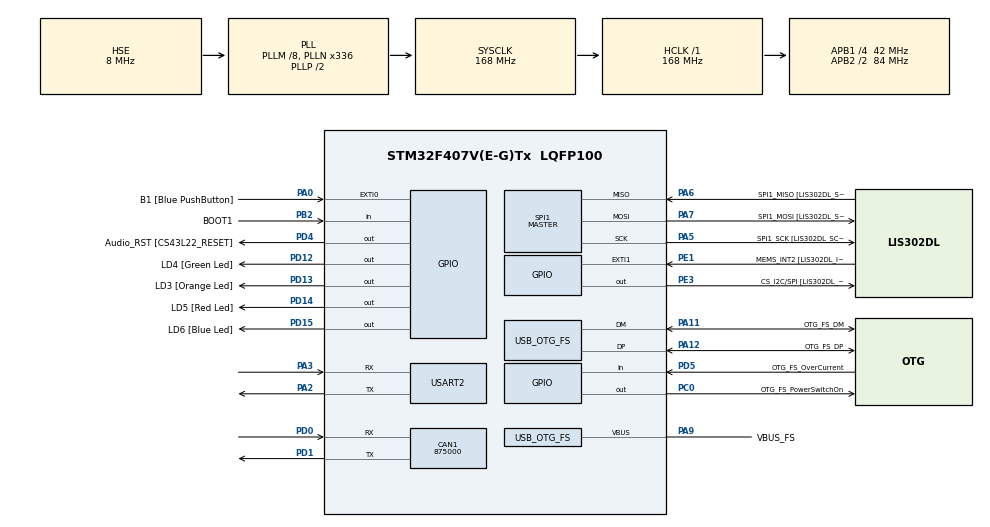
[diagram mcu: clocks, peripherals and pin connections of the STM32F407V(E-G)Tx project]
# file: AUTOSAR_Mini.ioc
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CAN1.CalculateBaudRate=875000
CAN1.CalculateTimeBit=1142
CAN1.CalculateTimeQuantum=380.95238095238096
Dma.Request0=USART2_TX
Dma.Request1=USART2_RX
Dma.USART2_RX.1.Direction=DMA_PERIPH_TO_MEMORY
Dma.USART2_RX.1.FIFOMode=DMA_FIFOMODE_DISABLE
Dma.USART2_RX.1.Instance=DMA1_Stream5
Dma.USART2_RX.1.MemDataAlignment=DMA_MDATAALIGN_BYTE
Dma.USART2_RX.1.MemInc=DMA_MINC_ENABLE
Dma.USART2_RX.1.Mode=DMA_CIRCULAR
Dma.USART2_RX.1.PeriphDataAlignment=DMA_PDATAALIGN_BYTE
Dma.USART2_RX.1.PeriphInc=DMA_PINC_DISABLE
Dma.USART2_RX.1.Priority=DMA_PRIORITY_LOW
Dma.USART2_TX.0.Direction=DMA_MEMORY_TO_PERIPH
Dma.USART2_TX.0.FIFOMode=DMA_FIFOMODE_DISABLE
Dma.USART2_TX.0.Instance=DMA1_Stream6
Dma.USART2_TX.0.MemDataAlignment=DMA_MDATAALIGN_BYTE
Dma.USART2_TX.0.MemInc=DMA_MINC_ENABLE
Dma.USART2_TX.0.Mode=DMA_NORMAL
Dma.USART2_TX.0.PeriphDataAlignment=DMA_PDATAALIGN_BYTE
Dma.USART2_TX.0.PeriphInc=DMA_PINC_DISABLE
Dma.USART2_TX.0.Priority=DMA_PRIORITY_LOW
FREERTOS.Queues01=DcMuartRxQueue,128,uint8_t,0,Static,DcMuartRxQueueBuffer,DcMuartRxQueueControlBlock
FREERTOS.Tasks01=defaultTask,24,1024,StartDefaultTask,Default,NULL,Static,defaultTaskBuffer,defaultTaskControlBlock;task1ms,40,2048,task1msHandleFunction,Default,NULL,Static,task1msStack,task1msControlBlock;task10ms,24,2048,task10msHandleFunction,Default,NULL,Static,task10msStack,task10msStackControlBlock;task100ms,32,2048,task100msHandleFunction,Default,NULL,Static,task100msStack,task100msControlBlock;DiagnosticTask,28,256,DiagnosticTask_Function,Default,NULL,Static,diagnosticTaskHBuffer,diagnosticTaskHControlBlock
FREERTOS.configCHECK_FOR_STACK_OVERFLOW=2
FREERTOS.configTOTAL_HEAP_SIZE=4096
Mcu.Family=STM32F4
Mcu.Name=STM32F407V(E-G)Tx
Mcu.Package=LQFP100
NVIC.CAN1_RX0_IRQn=true\:5\:0\:false\:false\:true\:true\:true\:true\:true
NVIC.CAN1_TX_IRQn=true\:5\:0\:false\:false\:true\:true\:true\:true\:true
NVIC.DMA1_Stream5_IRQn=true\:5\:0\:false\:false\:true\:true\:false\:true\:true
NVIC.DMA1_Stream6_IRQn=true\:5\:0\:false\:false\:true\:true\:false\:true\:true
NVIC.OTG_FS_IRQn=true\:5\:0\:false\:false\:true\:true\:true\:true\:true
NVIC.PriorityGroup=NVIC_PRIORITYGROUP_4
NVIC.TIM2_IRQn=true\:15\:0\:false\:false\:true\:false\:false\:true\:true
NVIC.TimeBase=TIM2_IRQn
NVIC.TimeBaseIP=TIM2
NVIC.USART2_IRQn=true\:5\:0\:false\:false\:true\:true\:true\:true\:true
PA0-WKUP.GPIO_Label=B1 [Blue PushButton]
PA0-WKUP.GPIO_ModeDefaultEXTI=GPIO_MODE_EVT_RISING
PA0-WKUP.GPIO_PuPd=GPIO_NOPULL
PA0-WKUP.Signal=GPXTI0
PA10.GPIO_Label=OTG_FS_ID
PA10.GPIO_Mode=GPIO_MODE_AF_PP
PA10.GPIO_PuPd=GPIO_NOPULL
PA10.GPIO_Speed=GPIO_SPEED_FREQ_LOW
PA10.Signal=USB_OTG_FS_ID
PA11.GPIO_Label=OTG_FS_DM
PA11.GPIO_Mode=GPIO_MODE_AF_PP
PA11.GPIO_PuPd=GPIO_NOPULL
PA11.GPIO_Speed=GPIO_SPEED_FREQ_LOW
PA11.Mode=Host_Only
PA11.Signal=USB_OTG_FS_DM
PA12.GPIO_Label=OTG_FS_DP
PA12.GPIO_Mode=GPIO_MODE_AF_PP
PA12.GPIO_PuPd=GPIO_NOPULL
PA12.GPIO_Speed=GPIO_SPEED_FREQ_LOW
PA12.Mode=Host_Only
PA12.Signal=USB_OTG_FS_DP
PA13.GPIO_Label=SWDIO
PA13.Mode=Serial_Wire
PA13.Signal=SYS_JTMS-SWDIO
PA14.GPIO_Label=SWCLK
PA14.Mode=Serial_Wire
PA14.Signal=SYS_JTCK-SWCLK
PA2.Mode=Asynchronous
PA2.Signal=USART2_TX
PA3.Mode=Asynchronous
PA3.Signal=USART2_RX
PA4.GPIO_Label=I2S3_WS [CS43L22_LRCK]
PA4.GPIO_Mode=GPIO_MODE_AF_PP
PA4.GPIO_PuPd=GPIO_NOPULL
PA4.GPIO_Speed=GPIO_SPEED_FREQ_LOW
PA4.Signal=I2S3_WS
PA5.GPIO_Label=SPI1_SCK [LIS302DL_SCL/SPC]
PA5.GPIO_Mode=GPIO_MODE_AF_PP
PA5.GPIO_PuPd=GPIO_NOPULL
PA5.GPIO_Speed=GPIO_SPEED_FREQ_LOW
PA5.Mode=Full_Duplex_Master
PA5.Signal=SPI1_SCK
PA6.GPIO_Label=SPI1_MISO [LIS302DL_SDO]
PA6.GPIO_Mode=GPIO_MODE_AF_PP
PA6.GPIO_PuPd=GPIO_NOPULL
PA6.GPIO_Speed=GPIO_SPEED_FREQ_LOW
PA6.Mode=Full_Duplex_Master
PA6.Signal=SPI1_MISO
PA7.GPIO_Label=SPI1_MOSI [LIS302DL_SDA/SDI/SDO]
PA7.GPIO_Mode=GPIO_MODE_AF_PP
PA7.GPIO_PuPd=GPIO_NOPULL
PA7.GPIO_Speed=GPIO_SPEED_FREQ_LOW
PA7.Mode=Full_Duplex_Master
PA7.Signal=SPI1_MOSI
PA9.GPIO_Label=VBUS_FS
PA9.GPIO_Mode=GPIO_MODE_INPUT
PA9.GPIO_PuPd=GPIO_NOPULL
PA9.Mode=Activate_VBUS
PA9.Signal=USB_OTG_FS_VBUS
PB10.GPIO_Label=CLK_IN [MP45DT02_CLK]
PB10.GPIO_Mode=GPIO_MODE_AF_PP
PB10.GPIO_PuPd=GPIO_NOPULL
PB10.GPIO_Speed=GPIO_SPEED_FREQ_LOW
PB10.Signal=I2S2_CK
PB2.GPIO_Label=BOOT1
PB2.GPIO_Mode=GPIO_MODE_INPUT
PB2.GPIO_PuPd=GPIO_NOPULL
PB2.Signal=GPIO_Input
PB3.GPIO_Label=SWO
PB3.Signal=SYS_JTDO-SWO
PB6.GPIO_Label=Audio_SCL [CS43L22_SCL]
PB6.GPIO_Mode=GPIO_MODE_AF_OD
PB6.GPIO_Pu=GPIO_PULLUP
PB6.GPIO_PuPd=GPIO_NOPULL
PB6.GPIO_Speed=GPIO_SPEED_FREQ_LOW
PB6.Signal=I2C1_SCL
PB9.GPIO_Label=Audio_SDA [CS43L22_SDA]
PB9.GPIO_Mode=GPIO_MODE_AF_OD
PB9.GPIO_Pu=GPIO_PULLUP
PB9.GPIO_PuPd=GPIO_NOPULL
PB9.GPIO_Speed=GPIO_SPEED_FREQ_LOW
PB9.Signal=I2C1_SDA
PC0.GPIO_Label=OTG_FS_PowerSwitchOn
PC0.GPIO_PuPd=GPIO_NOPULL
PC0.GPIO_Speed=GPIO_SPEED_FREQ_LOW
PC0.PinState=GPIO_PIN_SET
PC0.Signal=GPIO_Output
PC10.GPIO_Label=I2S3_SCK [CS43L22_SCLK]
PC10.GPIO_Mode=GPIO_MODE_AF_PP
PC10.GPIO_PuPd=GPIO_NOPULL
PC10.GPIO_Speed=GPIO_SPEED_FREQ_LOW
PC10.Signal=I2S3_CK
PC12.GPIO_Label=I2S3_SD [CS43L22_SDIN]
PC12.GPIO_Mode=GPIO_MODE_AF_PP
PC12.GPIO_PuPd=GPIO_NOPULL
PC12.GPIO_Speed=GPIO_SPEED_FREQ_LOW
PC12.Signal=I2S3_SD
PC14-OSC32_IN.GPIO_Label=PC14-OSC32_IN
PC14-OSC32_IN.Mode=LSE-External-Oscillator
PC14-OSC32_IN.Signal=RCC_OSC32_IN
PC15-OSC32_OUT.GPIO_Label=PC15-OSC32_OUT
PC15-OSC32_OUT.Mode=LSE-External-Oscillator
PC15-OSC32_OUT.Signal=RCC_OSC32_OUT
PC3.GPIO_Label=PDM_OUT [MP45DT02_DOUT]
PC3.GPIO_Mode=GPIO_MODE_AF_PP
PC3.GPIO_PuPd=GPIO_NOPULL
PC3.GPIO_Speed=GPIO_SPEED_FREQ_LOW
PC3.Signal=I2S2_SD
PC7.GPIO_Label=I2S3_MCK [CS43L22_MCLK]
PC7.GPIO_Mode=GPIO_MODE_AF_PP
PC7.GPIO_PuPd=GPIO_NOPULL
PC7.GPIO_Speed=GPIO_SPEED_FREQ_LOW
PC7.Signal=I2S3_MCK
PD0.Mode=CAN_Activate
PD0.Signal=CAN1_RX
PD1.Mode=CAN_Activate
PD1.Signal=CAN1_TX
PD12.GPIO_Label=LD4 [Green Led]
PD12.GPIO_PuPd=GPIO_NOPULL
PD12.GPIO_Speed=GPIO_SPEED_FREQ_LOW
PD12.Signal=GPIO_Output
PD13.GPIO_Label=LD3 [Orange Led]
PD13.GPIO_PuPd=GPIO_NOPULL
PD13.GPIO_Speed=GPIO_SPEED_FREQ_LOW
PD13.Signal=GPIO_Output
PD14.GPIO_Label=LD5 [Red Led]
PD14.GPIO_PuPd=GPIO_NOPULL
PD14.GPIO_Speed=GPIO_SPEED_FREQ_LOW
PD14.Signal=GPIO_Output
PD15.GPIO_Label=LD6 [Blue Led]
PD15.GPIO_PuPd=GPIO_NOPULL
PD15.GPIO_Speed=GPIO_SPEED_FREQ_LOW
PD15.Signal=GPIO_Output
PD4.GPIO_Label=Audio_RST [CS43L22_RESET]
PD4.GPIO_PuPd=GPIO_NOPULL
PD4.GPIO_Speed=GPIO_SPEED_FREQ_LOW
PD4.Signal=GPIO_Output
PD5.GPIO_Label=OTG_FS_OverCurrent
PD5.GPIO_Mode=GPIO_MODE_INPUT
PD5.GPIO_PuPd=GPIO_NOPULL
PD5.Signal=GPIO_Input
PE1.GPIO_Label=MEMS_INT2 [LIS302DL_INT2]
PE1.GPIO_ModeDefaultEXTI=GPIO_MODE_EVT_RISING
PE1.GPIO_PuPd=GPIO_NOPULL
PE1.Signal=GPXTI1
PE3.GPIO_Label=CS_I2C/SPI [LIS302DL_CS_I2C/SPI]
PE3.GPIO_PuPd=GPIO_NOPULL
PE3.GPIO_Speed=GPIO_SPEED_FREQ_LOW
PE3.Signal=GPIO_Output
PH0-OSC_IN.GPIO_Label=PH0-OSC_IN
PH0-OSC_IN.Mode=HSE-External-Oscillator
PH0-OSC_IN.Signal=RCC_OSC_IN
PH1-OSC_OUT.GPIO_Label=PH1-OSC_OUT
PH1-OSC_OUT.Mode=HSE-External-Oscillator
PH1-OSC_OUT.Signal=RCC_OSC_OUT
ProjectManager.HeapSize=0x200
ProjectManager.StackSize=0x400
ProjectManager.TargetToolchain=CMake
RCC.48MHZClocksFreq_Value=48000000
RCC.AHBFreq_Value=168000000
RCC.APB1CLKDivider=RCC_HCLK_DIV4
RCC.APB1Freq_Value=42000000
RCC.APB1TimFreq_Value=84000000
RCC.APB2CLKDivider=RCC_HCLK_DIV2
RCC.APB2Freq_Value=84000000
RCC.APB2TimFreq_Value=168000000
RCC.CortexFreq_Value=168000000
RCC.HCLKFreq_Value=168000000
RCC.HSE_VALUE=8000000
RCC.HSI_VALUE=16000000
RCC.PLLM=8
RCC.PLLN=336
RCC.PLLQ=7
RCC.SYSCLKFreq_VALUE=168000000
RCC.SYSCLKSource=RCC_SYSCLKSOURCE_PLLCLK
RCC.VCOOutputFreq_Value=336000000
SPI1.BaudRatePrescaler-Full_Duplex_Master=SPI_BAUDRATEPRESCALER_2
SPI1.CalculateBaudRate-Full_Duplex_Master=42.0 MBits/s
SPI1.Direction=SPI_DIRECTION_2LINES
SPI1.Mode=SPI_MODE_MASTER
SPI1.Mode-Full_Duplex_Master=SPI_MODE_MASTER
SPI1.VirtualType=VM_MASTER
USART2.VirtualMode=VM_ASYNC
USB_HOST.BSP.number=1
USB_HOST.USBH_HandleTypeDef-CDC_FS=hUsbHostFS
USB_HOST.USBH_USE_OS-CDC_FS=0
USB_HOST.VirtualModeFS=Cdc
USB_HOST0.BSP.STBoard=false
USB_HOST0.BSP.api=Unknown
USB_HOST0.BSP.instance=PC0
USB_HOST0.BSP.ip=GPIO
USB_HOST0.BSP.mode=Output
USB_HOST0.BSP.name=Drive_VBUS_FS
USB_HOST0.BSP.solution=PC0
USB_OTG_FS.VirtualMode=Host_Only
USB_OTG_FS.phy_itface=HCD_PHY_EMBEDDED
VP_FREERTOS_VS_CMSIS_V2.Mode=CMSIS_V2
VP_SYS_VS_tim2.Mode=TIM2
VP_USB_HOST_VS_USB_HOST_CDC_FS.Mode=CDC_FS
board=STM32F407G-DISC1

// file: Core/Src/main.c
/* USER CODE BEGIN Header */
/**
  ******************************************************************************
  * @file           : main.c
  * @brief          : Main program body
  ******************************************************************************
  * @attention
  *
  * Copyright (c) 2026 STMicroelectronics.
  * All rights reserved.
  *
  * This software is licensed under terms that can be found in the LICENSE file
  * in the root directory of this software component.
  * If no LICENSE file comes with this software, it is provided AS-IS.
  *
  ******************************************************************************
  */
/* USER CODE END Header */
#include "main.h"
#include "cmsis_os.h"
#include "usb_host.h"

/* USER CODE BEGIN Includes */
#include "Std_Types.h"
#include "Mini_SchM.h"
#include "Mini_Com.h"
#include "Mini_Dem.h"
#include "Mini_Rte.h"
#include "Mini_Timestamp.h"
#include "Mini_Timestamp.h"
#include "Mini_EcuM.h"
#include "Mini_Nvm.h"
#include "Mini_Dcm.h"
#include "Mini_FaultInj.h"
#include "SEGGER_SYSVIEW.h"
#include "App_Swc.h"
#include <stdio.h>
#include <stdarg.h>
#include <string.h>
/* USER CODE END Includes */

typedef StaticTask_t osStaticThreadDef_t;
typedef StaticQueue_t osStaticMessageQDef_t;

/* USER CODE BEGIN PD */
#define DEMO_PHASE_DURATION_MS      5000U
#define DEMO_COOLDOWN_MS            500U
#define DEBUG_AUTOSAR               1U
#define STACKSIZE_TASK_1MS          (512U * 4)
#define STACKSIZE_TASK_10MS         (512U * 4)
#define STACKSIZE_TASK_100MS        (512U * 4)
#define STACKSIZE_DEFAULT_TASK      (2048U * 4)

/* DMA RX buffer - circular buffer for incoming UDS frames */
#define UART_RX_BUFFER_SIZE   64U
static uint8_t uart_rx_buffer[UART_RX_BUFFER_SIZE];
static volatile uint16_t uart_rx_old_pos = 0U;
/* USER CODE END PD */

CAN_HandleTypeDef hcan1;

SPI_HandleTypeDef hspi1;

UART_HandleTypeDef huart2;
DMA_HandleTypeDef hdma_usart2_tx;
DMA_HandleTypeDef hdma_usart2_rx;

/* Definitions for defaultTask */
osThreadId_t defaultTaskHandle;
uint32_t defaultTaskBuffer[ 1024 ];
osStaticThreadDef_t defaultTaskControlBlock;
const osThreadAttr_t defaultTask_attributes = {
  .name = "defaultTask",
  .cb_mem = &defaultTaskControlBlock,
  .cb_size = sizeof(defaultTaskControlBlock),
  .stack_mem = &defaultTaskBuffer[0],
  .stack_size = sizeof(defaultTaskBuffer),
  .priority = (osPriority_t) osPriorityNormal,
};
/* Definitions for task1ms */
osThreadId_t task1msHandle;
uint32_t task1msStack[ 2048 ];
osStaticThreadDef_t task1msControlBlock;
const osThreadAttr_t task1ms_attributes = {
  .name = "task1ms",
  .cb_mem = &task1msControlBlock,
  .cb_size = sizeof(task1msControlBlock),
  .stack_mem = &task1msStack[0],
  .stack_size = sizeof(task1msStack),
  .priority = (osPriority_t) osPriorityHigh,
};
/* Definitions for task10ms */
osThreadId_t task10msHandle;
uint32_t task10msStack[ 2048 ];
osStaticThreadDef_t task10msStackControlBlock;
const osThreadAttr_t task10ms_attributes = {
  .name = "task10ms",
  .cb_mem = &task10msStackControlBlock,
  .cb_size = sizeof(task10msStackControlBlock),
  .stack_mem = &task10msStack[0],
  .stack_size = sizeof(task10msStack),
  .priority = (osPriority_t) osPriorityNormal,
};
/* Definitions for task100ms */
osThreadId_t task100msHandle;
uint32_t task100msStack[ 2048 ];
osStaticThreadDef_t task100msControlBlock;
const osThreadAttr_t task100ms_attributes = {
  .name = "task100ms",
  .cb_mem = &task100msControlBlock,
  .cb_size = sizeof(task100msControlBlock),
  .stack_mem = &task100msStack[0],
  .stack_size = sizeof(task100msStack),
  .priority = (osPriority_t) osPriorityAboveNormal,
};
/* Definitions for DiagnosticTask */
osThreadId_t DiagnosticTaskHandle;
uint32_t diagnosticTaskHBuffer[ 256 ];
osStaticThreadDef_t diagnosticTaskHControlBlock;
const osThreadAttr_t DiagnosticTask_attributes = {
  .name = "DiagnosticTask",
  .cb_mem = &diagnosticTaskHControlBlock,
  .cb_size = sizeof(diagnosticTaskHControlBlock),
  .stack_mem = &diagnosticTaskHBuffer[0],
  .stack_size = sizeof(diagnosticTaskHBuffer),
  .priority = (osPriority_t) osPriorityNormal4,
};
/* Definitions for DcMuartRxQueue */
osMessageQueueId_t DcMuartRxQueueHandle;
uint8_t DcMuartRxQueueBuffer[ 128 * sizeof( uint8_t ) ];
osStaticMessageQDef_t DcMuartRxQueueControlBlock;
const osMessageQueueAttr_t DcMuartRxQueue_attributes = {
  .name = "DcMuartRxQueue",
  .cb_mem = &DcMuartRxQueueControlBlock,
  .cb_size = sizeof(DcMuartRxQueueControlBlock),
  .mq_mem = &DcMuartRxQueueBuffer,
  .mq_size = sizeof(DcMuartRxQueueBuffer)
};
/* USER CODE BEGIN PV */

/*Static semaphore and mutex usage*/
/* Static control block buffers — no malloc needed */
static StaticSemaphore_t printfMutexBuffer;
static StaticSemaphore_t dmaTxSemBuffer;

osMutexId_t printf_mutex;
osSemaphoreId_t dma_tx_sem;

/* Attributes with static buffer references */
static const osMutexAttr_t printf_mutex_attr = {
    .name    = "printfMutex",
    .attr_bits = osMutexPrioInherit,       /* priority inheritance */
    .cb_mem  = &printfMutexBuffer,
    .cb_size = sizeof(printfMutexBuffer),
};

static const osSemaphoreAttr_t dma_tx_sem_attr = {
    .name    = "dmaTxSem",
    .cb_mem  = &dmaTxSemBuffer,
    .cb_size = sizeof(dmaTxSemBuffer),
};
/*Safety-critical software doesn't use malloc. I migrated my mini AUTOSAR project from dynamic to static allocation,
* following ISO 26262 and MISRA-C:2012 Rule 21.3 guidance.*/
/* DMA Printf buffer */
uint8_t dma_tx_buffer[256];
/* USER CODE END PV */

void SystemClock_Config(void);
static void MX_GPIO_Init(void);
static void MX_DMA_Init(void);
static void MX_CAN1_Init(void);
static void MX_SPI1_Init(void);
static void MX_USART2_UART_Init(void);
void StartDefaultTask(void *argument);
void task1msHandleFunction(void *argument);
void task10msHandleFunction(void *argument);
void task100msHandleFunction(void *argument);
void DiagnosticTask_Function(void *argument);

/* USER CODE BEGIN PFP */
void DMA_Printf(const char *format, ...);
/* USER CODE END PFP */

int main(void)
{

  /* MCU Configuration--------------------------------------------------------*/

  /* Reset of all peripherals, Initializes the Flash interface and the Systick. */
  HAL_Init();

  /* Configure the system clock */
  SystemClock_Config();

  /* Initialize all configured peripherals */
  MX_GPIO_Init();
  MX_DMA_Init();
  MX_CAN1_Init();
  MX_SPI1_Init();
  MX_USART2_UART_Init();
  /* USER CODE BEGIN 2 */

  /* UART RX — DMA circular mode with IDLE line detection */
  HAL_UARTEx_ReceiveToIdle_DMA(&huart2, uart_rx_buffer, UART_RX_BUFFER_SIZE);
  __HAL_DMA_DISABLE_IT(&hdma_usart2_rx, DMA_IT_HT);  /* Disable half-transfer IRQ (don't need it) */

  /* Logging initialization is inside EcuM_StartupSequence */
    EcuM_StartupSequence();
  /* USER CODE END 2 */

  /* Init scheduler */
  osKernelInitialize();

  /* USER CODE BEGIN RTOS_MUTEX */
  /*printf_mutex = osMutexNew(dmaMutex_attributes);*/
  printf_mutex = osMutexNew(&printf_mutex_attr);
  /* USER CODE END RTOS_MUTEX */

  /* USER CODE BEGIN RTOS_SEMAPHORES */
  dma_tx_sem = osSemaphoreNew(1, 1, &dma_tx_sem_attr);
  /*dma_tx_sem = osSemaphoreNew(1, 1, NULL);*/
  /* USER CODE END RTOS_SEMAPHORES */

  /* Create the queue(s) */
  /* creation of DcMuartRxQueue */
  DcMuartRxQueueHandle = osMessageQueueNew (128, sizeof(uint8_t), &DcMuartRxQueue_attributes);

  /* Create the thread(s) */
  /* creation of defaultTask */
  defaultTaskHandle = osThreadNew(StartDefaultTask, NULL, &defaultTask_attributes);

  /* creation of task1ms */
  task1msHandle = osThreadNew(task1msHandleFunction, NULL, &task1ms_attributes);

  /* creation of task10ms */
  task10msHandle = osThreadNew(task10msHandleFunction, NULL, &task10ms_attributes);

  /* creation of task100ms */
  task100msHandle = osThreadNew(task100msHandleFunction, NULL, &task100ms_attributes);

  /* creation of DiagnosticTask */
  DiagnosticTaskHandle = osThreadNew(DiagnosticTask_Function, NULL, &DiagnosticTask_attributes);

  /* USER CODE BEGIN RTOS_THREADS */

    /* Check for all task creation , otherwise it might be silently fail */
  if (defaultTaskHandle == NULL ||
      task1msHandle     == NULL ||
      task10msHandle    == NULL ||
      task100msHandle   == NULL)
  {
      Log_Raw("\r\n!!! TASK CREATION FAILED !!!\r\n");
      Log_Raw("defaultTask: %s\r\n", defaultTaskHandle ? "OK" : "FAIL");
      Log_Raw("task1ms    : %s\r\n", task1msHandle     ? "OK" : "FAIL");
      Log_Raw("task10ms   : %s\r\n", task10msHandle    ? "OK" : "FAIL");
      Log_Raw("task100ms  : %s\r\n", task100msHandle   ? "OK" : "FAIL");
      Error_Handler();
  }
      Log_Raw("[INIT] All tasks created (static allocation)\r\n");

  Log_Raw("[INIT] All tasks created, starting scheduler...\r\n");
  Log_Raw("\r\n");
  /* USER CODE END RTOS_THREADS */

  /* USER CODE BEGIN RTOS_EVENTS */
  /* add events, ... */
    /*SystemView configuration and startup*/
    #ifdef DEBUG_SEGGER_SYSVIEW
    SEGGER_SYSVIEW_Conf();
    #endif
  /* USER CODE END RTOS_EVENTS */

  /* Start scheduler */
  osKernelStart();

  /* We should never get here as control is now taken by the scheduler */

  /* Infinite loop */
  while (1)
  {

  }
}

void SystemClock_Config(void)
{
  RCC_OscInitTypeDef RCC_OscInitStruct = {0};
  RCC_ClkInitTypeDef RCC_ClkInitStruct = {0};

  /** Configure the main internal regulator output voltage
  */
  __HAL_RCC_PWR_CLK_ENABLE();
  __HAL_PWR_VOLTAGESCALING_CONFIG(PWR_REGULATOR_VOLTAGE_SCALE1);

  /** Initializes the RCC Oscillators according to the specified parameters
  * in the RCC_OscInitTypeDef structure.
  */
  RCC_OscInitStruct.OscillatorType = RCC_OSCILLATORTYPE_HSE;
  RCC_OscInitStruct.HSEState = RCC_HSE_ON;
  RCC_OscInitStruct.PLL.PLLState = RCC_PLL_ON;
  RCC_OscInitStruct.PLL.PLLSource = RCC_PLLSOURCE_HSE;
  RCC_OscInitStruct.PLL.PLLM = 8;
  RCC_OscInitStruct.PLL.PLLN = 336;
  RCC_OscInitStruct.PLL.PLLP = RCC_PLLP_DIV2;
  RCC_OscInitStruct.PLL.PLLQ = 7;
  if (HAL_RCC_OscConfig(&RCC_OscInitStruct) != HAL_OK)
  {
    Error_Handler();
  }

  /** Initializes the CPU, AHB and APB buses clocks
  */
  RCC_ClkInitStruct.ClockType = RCC_CLOCKTYPE_HCLK|RCC_CLOCKTYPE_SYSCLK
                              |RCC_CLOCKTYPE_PCLK1|RCC_CLOCKTYPE_PCLK2;
  RCC_ClkInitStruct.SYSCLKSource = RCC_SYSCLKSOURCE_PLLCLK;
  RCC_ClkInitStruct.AHBCLKDivider = RCC_SYSCLK_DIV1;
  RCC_ClkInitStruct.APB1CLKDivider = RCC_HCLK_DIV4;
  RCC_ClkInitStruct.APB2CLKDivider = RCC_HCLK_DIV2;

  if (HAL_RCC_ClockConfig(&RCC_ClkInitStruct, FLASH_LATENCY_5) != HAL_OK)
  {
    Error_Handler();
  }
}

static void MX_CAN1_Init(void)
{

  hcan1.Instance = CAN1;
  hcan1.Init.Prescaler = 16;
  hcan1.Init.Mode = CAN_MODE_NORMAL;
  hcan1.Init.SyncJumpWidth = CAN_SJW_1TQ;
  hcan1.Init.TimeSeg1 = CAN_BS1_1TQ;
  hcan1.Init.TimeSeg2 = CAN_BS2_1TQ;
  hcan1.Init.TimeTriggeredMode = DISABLE;
  hcan1.Init.AutoBusOff = DISABLE;
  hcan1.Init.AutoWakeUp = DISABLE;
  hcan1.Init.AutoRetransmission = DISABLE;
  hcan1.Init.ReceiveFifoLocked = DISABLE;
  hcan1.Init.TransmitFifoPriority = DISABLE;
  if (HAL_CAN_Init(&hcan1) != HAL_OK)
  {
    Error_Handler();
  }

}

static void MX_SPI1_Init(void)
{

  /* SPI1 parameter configuration*/
  hspi1.Instance = SPI1;
  hspi1.Init.Mode = SPI_MODE_MASTER;
  hspi1.Init.Direction = SPI_DIRECTION_2LINES;
  hspi1.Init.DataSize = SPI_DATASIZE_8BIT;
  hspi1.Init.CLKPolarity = SPI_POLARITY_LOW;
  hspi1.Init.CLKPhase = SPI_PHASE_1EDGE;
  hspi1.Init.NSS = SPI_NSS_SOFT;
  hspi1.Init.BaudRatePrescaler = SPI_BAUDRATEPRESCALER_2;
  hspi1.Init.FirstBit = SPI_FIRSTBIT_MSB;
  hspi1.Init.TIMode = SPI_TIMODE_DISABLE;
  hspi1.Init.CRCCalculation = SPI_CRCCALCULATION_DISABLE;
  hspi1.Init.CRCPolynomial = 10;
  if (HAL_SPI_Init(&hspi1) != HAL_OK)
  {
    Error_Handler();
  }

}

static void MX_USART2_UART_Init(void)
{

  huart2.Instance = USART2;
  huart2.Init.BaudRate = 115200;
  huart2.Init.WordLength = UART_WORDLENGTH_8B;
  huart2.Init.StopBits = UART_STOPBITS_1;
  huart2.Init.Parity = UART_PARITY_NONE;
  huart2.Init.Mode = UART_MODE_TX_RX;
  huart2.Init.HwFlowCtl = UART_HWCONTROL_NONE;
  huart2.Init.OverSampling = UART_OVERSAMPLING_16;
  if (HAL_UART_Init(&huart2) != HAL_OK)
  {
    Error_Handler();
  }

}

static void MX_DMA_Init(void)
{

  /* DMA controller clock enable */
  __HAL_RCC_DMA1_CLK_ENABLE();

  /* DMA interrupt init */
  /* DMA1_Stream5_IRQn interrupt configuration */
  HAL_NVIC_SetPriority(DMA1_Stream5_IRQn, 5, 0);
  HAL_NVIC_EnableIRQ(DMA1_Stream5_IRQn);
  /* DMA1_Stream6_IRQn interrupt configuration */
  HAL_NVIC_SetPriority(DMA1_Stream6_IRQn, 5, 0);
  HAL_NVIC_EnableIRQ(DMA1_Stream6_IRQn);

}

static void MX_GPIO_Init(void)
{
  GPIO_InitTypeDef GPIO_InitStruct = {0};
  /* USER CODE BEGIN MX_GPIO_Init_1 */

  /* Enable UART2 clock */
  __HAL_RCC_USART2_CLK_ENABLE();

  /* USER CODE END MX_GPIO_Init_1 */

  /* GPIO Ports Clock Enable */
  __HAL_RCC_GPIOE_CLK_ENABLE();
  __HAL_RCC_GPIOC_CLK_ENABLE();
  __HAL_RCC_GPIOH_CLK_ENABLE();
  __HAL_RCC_GPIOA_CLK_ENABLE();
  __HAL_RCC_GPIOB_CLK_ENABLE();
  __HAL_RCC_GPIOD_CLK_ENABLE();

  /*Configure GPIO pin Output Level */
  HAL_GPIO_WritePin(CS_I2C_SPI_GPIO_Port, CS_I2C_SPI_Pin, GPIO_PIN_RESET);

  /*Configure GPIO pin Output Level */
  HAL_GPIO_WritePin(OTG_FS_PowerSwitchOn_GPIO_Port, OTG_FS_PowerSwitchOn_Pin, GPIO_PIN_SET);

  /*Configure GPIO pin Output Level */
  HAL_GPIO_WritePin(GPIOD, LD4_Pin|LD3_Pin|LD5_Pin|LD6_Pin
                          |Audio_RST_Pin, GPIO_PIN_RESET);

  /*Configure GPIO pin : CS_I2C_SPI_Pin */
  GPIO_InitStruct.Pin = CS_I2C_SPI_Pin;
  GPIO_InitStruct.Mode = GPIO_MODE_OUTPUT_PP;
  GPIO_InitStruct.Pull = GPIO_NOPULL;
  GPIO_InitStruct.Speed = GPIO_SPEED_FREQ_LOW;
  HAL_GPIO_Init(CS_I2C_SPI_GPIO_Port, &GPIO_InitStruct);

  /*Configure GPIO pin : OTG_FS_PowerSwitchOn_Pin */
  GPIO_InitStruct.Pin = OTG_FS_PowerSwitchOn_Pin;
  GPIO_InitStruct.Mode = GPIO_MODE_OUTPUT_PP;
  GPIO_InitStruct.Pull = GPIO_NOPULL;
  GPIO_InitStruct.Speed = GPIO_SPEED_FREQ_LOW;
  HAL_GPIO_Init(OTG_FS_PowerSwitchOn_GPIO_Port, &GPIO_InitStruct);

  /*Configure GPIO pin : PDM_OUT_Pin */
  GPIO_InitStruct.Pin = PDM_OUT_Pin;
  GPIO_InitStruct.Mode = GPIO_MODE_AF_PP;
  GPIO_InitStruct.Pull = GPIO_NOPULL;
  GPIO_InitStruct.Speed = GPIO_SPEED_FREQ_LOW;
  GPIO_InitStruct.Alternate = GPIO_AF5_SPI2;
  HAL_GPIO_Init(PDM_OUT_GPIO_Port, &GPIO_InitStruct);

  /*Configure GPIO pin : B1_Pin */
  GPIO_InitStruct.Pin = B1_Pin;
  GPIO_InitStruct.Mode = GPIO_MODE_EVT_RISING;
  GPIO_InitStruct.Pull = GPIO_NOPULL;
  HAL_GPIO_Init(B1_GPIO_Port, &GPIO_InitStruct);

  /*Configure GPIO pin : I2S3_WS_Pin */
  GPIO_InitStruct.Pin = I2S3_WS_Pin;
  GPIO_InitStruct.Mode = GPIO_MODE_AF_PP;
  GPIO_InitStruct.Pull = GPIO_NOPULL;
  GPIO_InitStruct.Speed = GPIO_SPEED_FREQ_LOW;
  GPIO_InitStruct.Alternate = GPIO_AF6_SPI3;
  HAL_GPIO_Init(I2S3_WS_GPIO_Port, &GPIO_InitStruct);

  /*Configure GPIO pin : BOOT1_Pin */
  GPIO_InitStruct.Pin = BOOT1_Pin;
  GPIO_InitStruct.Mode = GPIO_MODE_INPUT;
  GPIO_InitStruct.Pull = GPIO_NOPULL;
  HAL_GPIO_Init(BOOT1_GPIO_Port, &GPIO_InitStruct);

  /*Configure GPIO pin : CLK_IN_Pin */
  GPIO_InitStruct.Pin = CLK_IN_Pin;
  GPIO_InitStruct.Mode = GPIO_MODE_AF_PP;
  GPIO_InitStruct.Pull = GPIO_NOPULL;
  GPIO_InitStruct.Speed = GPIO_SPEED_FREQ_LOW;
  GPIO_InitStruct.Alternate = GPIO_AF5_SPI2;
  HAL_GPIO_Init(CLK_IN_GPIO_Port, &GPIO_InitStruct);

  /*Configure GPIO pins : LD4_Pin LD3_Pin LD5_Pin LD6_Pin
                           Audio_RST_Pin */
  GPIO_InitStruct.Pin = LD4_Pin|LD3_Pin|LD5_Pin|LD6_Pin
                          |Audio_RST_Pin;
  GPIO_InitStruct.Mode = GPIO_MODE_OUTPUT_PP;
  GPIO_InitStruct.Pull = GPIO_NOPULL;
  GPIO_InitStruct.Speed = GPIO_SPEED_FREQ_LOW;
  HAL_GPIO_Init(GPIOD, &GPIO_InitStruct);

  /*Configure GPIO pins : I2S3_MCK_Pin I2S3_SCK_Pin I2S3_SD_Pin */
  GPIO_InitStruct.Pin = I2S3_MCK_Pin|I2S3_SCK_Pin|I2S3_SD_Pin;
  GPIO_InitStruct.Mode = GPIO_MODE_AF_PP;
  GPIO_InitStruct.Pull = GPIO_NOPULL;
  GPIO_InitStruct.Speed = GPIO_SPEED_FREQ_LOW;
  GPIO_InitStruct.Alternate = GPIO_AF6_SPI3;
  HAL_GPIO_Init(GPIOC, &GPIO_InitStruct);

  /*Configure GPIO pin : OTG_FS_OverCurrent_Pin */
  GPIO_InitStruct.Pin = OTG_FS_OverCurrent_Pin;
  GPIO_InitStruct.Mode = GPIO_MODE_INPUT;
  GPIO_InitStruct.Pull = GPIO_NOPULL;
  HAL_GPIO_Init(OTG_FS_OverCurrent_GPIO_Port, &GPIO_InitStruct);

  /*Configure GPIO pins : Audio_SCL_Pin Audio_SDA_Pin */
  GPIO_InitStruct.Pin = Audio_SCL_Pin|Audio_SDA_Pin;
  GPIO_InitStruct.Mode = GPIO_MODE_AF_OD;
  GPIO_InitStruct.Pull = GPIO_PULLUP;
  GPIO_InitStruct.Speed = GPIO_SPEED_FREQ_LOW;
  GPIO_InitStruct.Alternate = GPIO_AF4_I2C1;
  HAL_GPIO_Init(GPIOB, &GPIO_InitStruct);

  /*Configure GPIO pin : MEMS_INT2_Pin */
  GPIO_InitStruct.Pin = MEMS_INT2_Pin;
  GPIO_InitStruct.Mode = GPIO_MODE_EVT_RISING;
  GPIO_InitStruct.Pull = GPIO_NOPULL;
  HAL_GPIO_Init(MEMS_INT2_GPIO_Port, &GPIO_InitStruct);

}

/* USER CODE BEGIN 4 */
/**
  * @brief Thread-safe ve DMA based printf implementation for debugging over UART2.
  */
void DMA_Printf(const char *format, ...)
{
    va_list args;
    va_start(args, format);

    if (osKernelGetState() == osKernelRunning)
    {
        /* RTOS = MUTEX and SEMAPHORE for thread safety */
        if (osMutexAcquire(printf_mutex, pdMS_TO_TICKS(50)) == osOK)
        {
            /* Wait for DMA transfer to complete */
            if (osSemaphoreAcquire(dma_tx_sem, pdMS_TO_TICKS(50)) == osOK)
            {
                int len = vsnprintf((char*)dma_tx_buffer, sizeof(dma_tx_buffer), format, args);
                if (len > 0)
                {
                    HAL_UART_Transmit_DMA(&huart2, dma_tx_buffer, len);
                }
                else
                {
                    osSemaphoreRelease(dma_tx_sem); /* If there is an error, release the semaphore */
                }
            }
            osMutexRelease(printf_mutex);
        }
    }
    else
    {
        /* If RTOS is not ready, use polling */
        int len = vsnprintf((char*)dma_tx_buffer, sizeof(dma_tx_buffer), format, args);
        if (len > 0)
        {
            HAL_UART_Transmit(&huart2, dma_tx_buffer, len, HAL_MAX_DELAY);
        }
    }
    va_end(args);
}

/**
  * @brief UART DMA transfer completed callback - semaphore release for next transfer
  */
void HAL_UART_TxCpltCallback(UART_HandleTypeDef *huart)
{
    if (huart->Instance == USART2)
    {
        osSemaphoreRelease(dma_tx_sem);
    }
}

/**
 * @brief UART RX event callback — called on IDLE line detection or DMA complete
 *
 * Called in three scenarios (HAL tells us which via the Size parameter):
 *   - IDLE line: frame finished, Size = bytes received since last call
 *   - HT/TC: DMA buffer half-full / full (circular wrap-around)
 *
 * We just forward new bytes to DCM frame assembler.
 */
void HAL_UARTEx_RxEventCallback(UART_HandleTypeDef *huart, uint16_t Size)
{
    if (huart->Instance == USART2)
    {
        /* Calculate how many new bytes arrived */
        if (Size != uart_rx_old_pos)
        {
            uint16_t newDataLen;

            if (Size > uart_rx_old_pos)
            {
                /* Linear growth — bytes are contiguous in the buffer */
                newDataLen = Size - uart_rx_old_pos;
                for (uint16_t i = 0U; i < newDataLen; i++)
                {
                    uint8_t rxByte = uart_rx_buffer[uart_rx_old_pos + i];
                    osMessageQueuePut(DcMuartRxQueueHandle, &rxByte, 0U, 0U); // ISR-Safe Call
                }
            }
            else
            {
                /* Buffer wrap-around — read to end, then from start */
                uint16_t tailLen = UART_RX_BUFFER_SIZE - uart_rx_old_pos;
                for (uint16_t i = 0U; i < tailLen; i++)
                {
                    uint8_t rxByte = uart_rx_buffer[uart_rx_old_pos + i];
                    osMessageQueuePut(DcMuartRxQueueHandle, &rxByte, 0U, 0U); // ISR-Safe Call
                }
                for (uint16_t i = 0U; i < Size; i++)
                {
                    uint8_t rxByte = uart_rx_buffer[i];
                    osMessageQueuePut(DcMuartRxQueueHandle, &rxByte, 0U, 0U); // ISR-Safe Call
                }
            }

            uart_rx_old_pos = Size;

            /* Handle buffer wrap */
            if (uart_rx_old_pos >= UART_RX_BUFFER_SIZE)
            {
                uart_rx_old_pos = 0U;
            }
        }
    }
}

/**
 * @brief UART error callback — re-arm RX on error
 */
void HAL_UART_ErrorCallback(UART_HandleTypeDef *huart)
{
    if (huart->Instance == USART2)
    {
        /* Clear error flags */
        __HAL_UART_CLEAR_FLAG(huart, UART_FLAG_ORE | UART_FLAG_FE | UART_FLAG_NE);

        /* Re-arm RX */
        HAL_UARTEx_ReceiveToIdle_DMA(huart, uart_rx_buffer, UART_RX_BUFFER_SIZE);
        __HAL_DMA_DISABLE_IT(&hdma_usart2_rx, DMA_IT_HT);

        uart_rx_old_pos = 0U;
    }
}
/* USER CODE END 4 */

/* USER CODE BEGIN Header_StartDefaultTask */
/**
  * @brief  Demo Task — toggles between EXPLICIT and IMPLICIT RTE access
  *         modes and reports the race condition count.
  *
  *         In EXPLICIT mode: shared data is accessed directly in the global
  *         buffer. Preemption during a multi-field write causes the reader
  *         task to see inconsistent data → dozens of errors per 5s window.
  *
  *         In IMPLICIT mode: RTE takes a task-boundary snapshot. Data stays
  *         consistent throughout the task → zero errors.
  */
/* USER CODE END Header_StartDefaultTask */
void StartDefaultTask(void *argument)
{
  /* init code for USB_HOST */
  MX_USB_HOST_Init();
  /* USER CODE BEGIN 5 */
  #ifdef DEBUG_SEGGER_SYSVIEW
  SEGGER_SYSVIEW_Start();
  #endif
  uint32_t cycle = 0U;
  /* Notify EcuM that scheduler has started */
  EcuM_OnSchedulerStart();

  /* Give the periodic tasks a moment to start running */
  osDelay(1000);

  Log_Banner("RACE CONDITION DEMO — STARTING");

  for (;;)
  {
    cycle++;

    /* ============ EXPLICIT MODE (dangerous) ============ */
    Log_Separator();
    Log_Write("DEMO ", "Cycle %lu | Phase 1: EXPLICIT mode (5s window)", cycle);
    Log_Separator();

    Rte_SetAccessMode(RTE_ACCESS_EXPLICIT);
    Rte_ResetInconsistencyCount();

    osDelay(DEMO_PHASE_DURATION_MS);

    uint32_t explicitErrors = Rte_GetInconsistencyCount();
    Log_Write("DEMO ", "EXPLICIT: %lu inconsistencies detected", explicitErrors);

    if (explicitErrors > 0U)
    {
      Log_Write("DEMO ", " Result                   : RACE CONDITION");
    }
    Log_Raw("");

    osDelay(DEMO_COOLDOWN_MS);

    /* ============ IMPLICIT MODE (safe) ============ */
    Log_Separator();
    Log_Write("DEMO ", "Cycle %lu | Phase 2: IMPLICIT mode (5s window)", cycle);
    Log_Separator();

    Rte_SetAccessMode(RTE_ACCESS_IMPLICIT);
    Rte_ResetInconsistencyCount();

    osDelay(DEMO_PHASE_DURATION_MS);

    uint32_t implicitErrors = Rte_GetInconsistencyCount();
    Log_Write("DEMO ", "IMPLICIT: %lu inconsistencies detected", implicitErrors);
    Log_Write("DEMO ", " Torque miscalculations   : %lu%s\r\n",
               implicitErrors, (implicitErrors == 0U) ? "  [OK]" : "  [FAIL]");
    if (implicitErrors == 0U)
    {
      Log_Write("DEMO ", " Result                   : AUTOSAR RTE snapshot works");
    }
    Log_Raw("\r\n");

    /* Summary */
    Log_Write("DEMO ", "==> Cycle %lu summary: EXPLICIT=%lu, IMPLICIT=%lu\r\n",
               cycle, explicitErrors, implicitErrors);
    Log_Raw("\r\n");

    osDelay(2000);

    /* ============ DEM LIFECYCLE DEMO ============ */
    Log_Banner("DEM LIFECYCLE DEMO — Fault Injection Scenario");
    Log_Write("DEMO ", "Running ECU in normal state for 2 seconds...");
    osDelay(2000);

    Log_Separator();
    Log_Write("DEMO ", "Step 1: Injecting torque sensor fault");
    Log_Separator();
    FaultInj_Inject(FAULT_INJ_TORQUE_OUT_OF_RANGE);

    /* Wait for debounce to mature (5 counts x 100ms = 500ms minimum) */
    osDelay(1000);

    Log_Separator();
    Log_Write("DEMO ", "Step 2: Observing NvM async write completion");
    Log_Separator();
    osDelay(500);  /* Wait for NvM write to finish (3x100ms) */

    Log_Separator();
    Log_Write("DEMO ", "Step 3: Reading DTC state via Dem_GetDtcStatusByte()");
    Log_Separator();
    uint8 dtcStatus = Dem_GetDtcStatusByte(DEM_EVENT_TORQUE_SENSOR_FAULT);
    Log_Write("DEMO ", "DTC 0x4A12 status byte: 0x%02X (tester would read this via UDS 0x19)",
              (uint32)dtcStatus);

    Dem_FreezeFrameType ff;
    if (Dem_GetFreezeFrame(DEM_EVENT_TORQUE_SENSOR_FAULT, &ff) == E_OK)
    {
        Log_Write("DEMO ", "Freeze frame: torque=%u speed=%u angle=%u t=%lums",
                  (uint32)ff.torque_input, (uint32)ff.vehicle_speed,
                  (uint32)ff.steering_angle, ff.timestamp_ms);
    }

    osDelay(2000);

    Log_Separator();
    Log_Write("DEMO ", "Step 4: Removing fault, observing healing");
    Log_Separator();
    FaultInj_Clear();

    /* Wait for debounce to heal (5 counts x 100ms = 500ms minimum) */
    osDelay(1000);

    Log_Separator();
    Log_Write("DEMO ", "Step 5: Clearing DTC (simulates UDS 0x14 ClearDTC)");
    Log_Separator();
    Dem_ClearDtc(DEM_EVENT_TORQUE_SENSOR_FAULT);
    Log_Write("DEMO ", "DTC cleared, status now: 0x%02X",
              (uint32)Dem_GetDtcStatusByte(DEM_EVENT_TORQUE_SENSOR_FAULT));

    osDelay(3000);

    Log_Banner("DEMO CYCLE COMPLETE");
    Log_Raw("");
    Log_Raw("System is now IDLE. Send UDS requests from the terminal.");
    Log_Raw("");
    Log_Raw("Example commands:");
    Log_Raw("  10 03         - Diagnostic Session Control (Extended)");
    Log_Raw("  22 F1 90      - Read VIN");
    Log_Raw("  22 F1 91      - Read Hardware Version");
    Log_Raw("  19 02 09      - Read DTCs");
    Log_Raw("  14 FF FF FF   - Clear all DTCs");
    Log_Raw("  3E 00         - Tester Present");
    Log_Raw("");
    Log_Raw("Demo will restart in 60 seconds...");
    Log_Raw("");

    osDelay(60000);   /* 60 saniye beklemek = UDS test için rahat süre */
  }
  /* USER CODE END 5 */
}

void task1msHandleFunction(void *argument)
{
  /* USER CODE BEGIN task1msHandleFunction */
  (void)argument;
  /* Infinite loop */
  for(;;)
  {
    Rte_Task_Begin();
    App_Runnable_TorqueCalc_1ms();
    SchM_MainFunction_1ms();
    Rte_Task_End();
    osDelay(1);
  }
  /* USER CODE END task1msHandleFunction */
}

void task10msHandleFunction(void *argument)
{
  /* USER CODE BEGIN task10msHandleFunction */
  (void)argument;
  /* Infinite loop */
  for(;;)
  {
    Rte_Task_Begin();
    App_Runnable_SensorUpdate_10ms();
    SchM_MainFunction_10ms();
    Rte_Task_End();
    osDelay(10);
  }
  /* USER CODE END task10msHandleFunction */
}

void task100msHandleFunction(void *argument)
{
  /* USER CODE BEGIN task100msHandleFunction */
  (void)argument;
  /* Infinite loop */
  for(;;)
  {
    Rte_Task_Begin();
    App_Runnable_DiagMonitor_100ms();
    SchM_MainFunction_100ms();
    Rte_Task_End();
    osDelay(100);
  }
  /* USER CODE END task100msHandleFunction */
}

void DiagnosticTask_Function(void *argument)
{
  /* USER CODE BEGIN DiagnosticTask_Function */
  uint8_t rxByte;
  /* Infinite loop */
  for(;;)
    {
      /* If there are not data in queue , cpu sleep, zero cpu load */
      if (osMessageQueueGet(DcMuartRxQueueHandle, &rxByte, NULL, osWaitForever) == osOK)
      {
        /* Delete CRLF from Received Bytes */
          Dcm_FeedRxByte(rxByte);
        }
    }
  /* USER CODE END DiagnosticTask_Function */
}

void HAL_TIM_PeriodElapsedCallback(TIM_HandleTypeDef *htim)
{
  if (htim->Instance == TIM2)
  {
    HAL_IncTick();
  }
}

void Error_Handler(void)
{
  __disable_irq();
  while (1)
  {
  }
}
#ifdef USE_FULL_ASSERT
/**
  * @brief  Reports the name of the source file and the source line number
  *         where the assert_param error has occurred.
  * @param  file: pointer to the source file name
  * @param  line: assert_param error line source number
  * @retval None
  */
void assert_failed(uint8_t *file, uint32_t line)
{
  /* USER CODE BEGIN 6 */
  /* User can add his own implementation to report the file name and line number,
     ex: DMA_Printf("Wrong parameters value: file %s on line %d\r\n", file, line) */
  /* USER CODE END 6 */
}
#endif /* USE_FULL_ASSERT */

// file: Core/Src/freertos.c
/* USER CODE BEGIN Header */
/**
  ******************************************************************************
  * File Name          : freertos.c
  * Description        : Code for freertos applications
  ******************************************************************************
  * @attention
  *
  * Copyright (c) 2026 STMicroelectronics.
  * All rights reserved.
  *
  * This software is licensed under terms that can be found in the LICENSE file
  * in the root directory of this software component.
  * If no LICENSE file comes with this software, it is provided AS-IS.
  *
  ******************************************************************************
  */
/* USER CODE END Header */

#include "FreeRTOS.h"
#include "task.h"
#include "main.h"

/* Hook prototypes */
void vApplicationStackOverflowHook(xTaskHandle xTask, signed char *pcTaskName);

/* USER CODE BEGIN 4 */
void vApplicationStackOverflowHook(xTaskHandle xTask, signed char *pcTaskName)
{
   /* Run time stack overflow checking is performed if
   configCHECK_FOR_STACK_OVERFLOW is defined to 1 or 2. This hook function is
   called if a stack overflow is detected. */
}
/* USER CODE END 4 */
